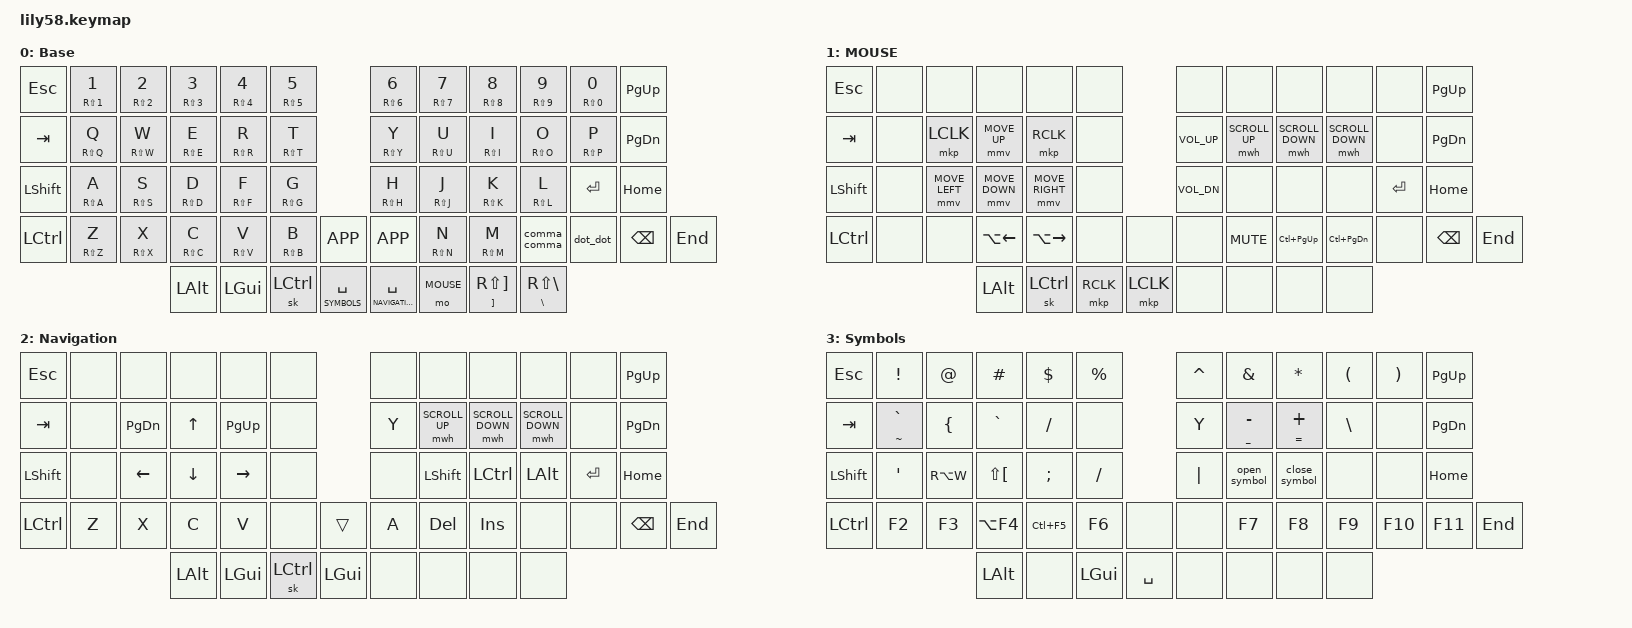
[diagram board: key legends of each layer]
/*
 * Copyright (c) 2020 The ZMK Contributors
 *
 * SPDX-License-Identifier: MIT
 */

#include <behaviors.dtsi>
#include <dt-bindings/zmk/keys.h>
#include <dt-bindings/zmk/bt.h>
#include <dt-bindings/zmk/ext_power.h>
#include <dt-bindings/zmk/mouse.h>

#define BASE 0
#define MOUSE 1
#define NAVIGATION 2
#define SYMBOLS 3

&mmv {
	time-to-max-speed-ms = <300>;
};

&mwh {
	acceleration-exponent=<1>;
};

&mt {
	tapping-term-ms = <300>;
	flavor = "tap-preferred";
};

/ {

behaviors {

   open_symbol: td_open {
     compatible = "zmk,behavior-tap-dance";
     label = "TD_OPEN";
     #binding-cells = <0>;
     tapping-term-ms = <200>;
     bindings = <&kp RS(RIGHT_BRACKET)>, <&kp RS(NUMBER_9)>, <&kp RIGHT_BRACKET>;
   };

   close_symbol: td_close {
     compatible = "zmk,behavior-tap-dance";
     label = "TD_CLOSE";
     #binding-cells = <0>;
     tapping-term-ms = <200>;
     bindings = <&kp RS(BACKSLASH)>, <&kp RS(NUMBER_0)>, <&kp BACKSLASH>;
   };

   dot_dot: dot_dot {
     compatible = "zmk,behavior-tap-dance";
     label = "DOT_DOT";
     #binding-cells = <0>;
     tapping-term-ms = <200>;
     bindings = <&kp PERIOD>, <&kp LS(SLASH)>,<&kp LT>;
  };

   comma_comma: comma_comma {
     compatible = "zmk,behavior-tap-dance";
     label = "COMMA_COMMA";
     #binding-cells = <0>;
     tapping-term-ms = <200>;
     bindings = <&kp COMMA>, <&kp SLASH>, <&kp GT>;
   };

 };

keymap {
   compatible = "zmk,keymap";
      default_layer {

	/* 			BASE
	  base layer contains autoshift on alpha and num chars	 
	
	 - use slash and backslass and pipe dedicated key
	 - as acute and tilda key
         - add grave and crase key
	 - add quote and double quote key
	 - add bluetooth layer
         - check https://github.com/toniz4/zmk-config/blob/1e70db9d25f6a92e3f32336912afa386ce148fe7/config/helper.h#L35
	 - check https://github.com/toniz4/zmk-config/blob/1e70db9d25f6a92e3f32336912afa386ce148fe7/config/totem.keymap#L16
		
	 ╭────────────────────────────────────────╮                              ╭─────────────────────────────────────────────╮
	 |  ESC  |  1  |  2  |  3   |  4   |  5   |          		         |  6   |  7    |  8    |  9   |   0   |  BSPC |
	 |  TAB  |  Q  |  W  |  E   |  R   |  T   |            		         |  Y   |  U    |  I    |  O   |   P   | ENTER |
	 |  CTRL |  A  |  S  |  D   |  F   |  G   ╰────────╮             ╭───────╯  H   |  J    |  K    |  L   |   Ç   |  CTRL |
	 | SHIFT |  Z  |  X  |  C   |  V   |  B   |  "+"   | 		 |  "-"  |  N   |  M    |  ,    |  .   |  /|\  | SHIFT |
	 ╰──────────────────╮  ALT  | GUI  |SKCTRL| SYMBOLS| 		 |SPACE  |MOUSE |  [{    |  ]}  ╭──────────────────────╯	
	 		    ╰──────────────────────────────╯		 ╰──────────────────────────────╯								
	 
	*/
	    label = "Base";
            bindings = <
		&kp ESC     &mt RS(N1) N1   &mt RS(N2) N2   &mt RS(N3) N3   &mt RS(N4) N4   &mt RS(N5) N5			           		   &mt RS(N6) N6      &mt RS(N7) N7   			    &mt RS(N8) N8   		  &mt RS(N9) N9   &mt RS(N0) N0     &kp PAGE_UP
		&kp TAB     &mt RS(Q) Q     &mt RS(W) W     &mt RS(E) E     &mt RS(R) R     &mt RS(T) T				           		   &mt RS(Y) Y        &mt RS(U) U     			    &mt RS(I) I     		  &mt RS(O) O     &mt RS(P) P       &kp PAGE_DOWN
		&kp LSHFT   &mt RS(A) A     &mt RS(S) S     &mt RS(D) D     &mt RS(F) F     &mt RS(G) G				           		   &mt RS(H) H        &mt RS(J) J     			    &mt RS(K) K     		  &mt RS(L) L     &kp RETURN        &kp HOME
		&kp LCTRL   &mt RS(Z) Z     &mt RS(X) X     &mt RS(C) C     &mt RS(V) V     &mt RS(B) B       &kp K_APP             &kp K_APP  		   &mt RS(N) N        &mt RS(M) M     			    &comma_comma    		  &dot_dot        &kp BSPC          &kp END
		                                            &kp LALT        &kp LGUI        &sk LEFT_CONTROL  &lt SYMBOLS SPACE     &lt NAVIGATION SPACE   &mo MOUSE     &mt RIGHT_BRACKET RS(RIGHT_BRACKET)   &mt BACKSLASH RS(BACKSLASH)
            >;
        };

        Mouse_layer {

	/*		MOUSE AND MEDIA CONTROL

	 ╭────────────────────────────────────────╮                              ╭─────────────────────────────────────────────╮
	 |  ESC  |     |     |      |      |      |          		         |      |       |       |      |       |  BSPC |
	 |  TAB  |     |LFTCL|  MUP | RGTCL|      |            		         |VOL-UP|       |       |      |       | ENTER |
	 |  CTRL |     |MLEFT|MDOWN |MRIGHT|      ╰────────╮             ╭───────╯VOL-DN|       |       |      |       |  CTRL |
	 | SHIFT |     |     |PAGEB | PAGEF|      |        | 		 |       |      |PAGE-UP|PAGE-DN|      |       | SHIFT |
	 ╰──────────────────╮  ALT  |STCTRL| RCLK |  LCLK  | 		 |       |      |       |       ╭──────────────────────╯	
	 		    ╰──────────────────────────────╯		 ╰──────────────────────────────╯								
	*/    

	    label = "MOUSE";
            bindings = <
		&kp ESC     &none   &none            &none            &none             &none                      	       &none	      &none		&none		   &none              &none        &kp PAGE_UP
		&kp TAB     &none   &mkp LCLK        &mmv MOVE_UP     &mkp RCLK         &none    			       &kp K_VOL_UP   &mwh SCROLL_UP	&mwh SCROLL_DOWN   &mwh SCROLL_DOWN   &none        &kp PAGE_DOWN
		&kp LSHFT   &none   &mmv MOVE_LEFT   &mmv MOVE_DOWN   &mmv MOVE_RIGHT   &none                       	       &kp K_VOL_DN   &none		&none		   &none	      &kp RETURN   &kp HOME
		&kp LCTRL   &none   &none            &kp LA(LEFT)     &kp LA(RIGHT)     &none	    &none    	       &none   &kp K_MUTE     &kp LC(PAGE_UP)   &kp LC(PAGE_DOWN)  &none	      &kp BSPC     &kp END
		                      		     &kp LALT	      &sk LEFT_CONTROL  &mkp RCLK   &mkp LCLK          &none   &none	      &none  		&none
            >;
        };

        Navigation_layer {

	/*		NAVIGATION LAYER

	 ╭────────────────────────────────────────╮                              ╭─────────────────────────────────────────────╮
	 |  ESC  |     |     |      |      |      |          		         |  Y   |       |       |      |       |  BSPC |
	 |  TAB  |     |PAGDN| UP   |PAGUP |      |            		         |VOL-UP|       |       |      |       | ENTER |
	 |  CTRL |     |LEFT |DOWN  |RIGHT |      ╰────────╮             ╭───────╯VOL-DN|       |       |      |       |       |
	 | SHIFT |  Z  |  X  |  C   | V    |      |        | 		 |       |      |PAGE-UP|PAGE-DN|  .   |       |       |
	 ╰──────────────────╮  ALT  | GUI  |SKCTRL| SYMBOLS| 		 | ENTER | RAISE| BSPC  | GUI   ╭──────────────────────╯	
	 		    ╰──────────────────────────────╯		 ╰──────────────────────────────╯		
	*/ 


            label = "Navigation";
            bindings = <
		&kp ESC     &none   &none 	    &none      &none  	     &none                   	       &none     &none            &none   	     &none   		&none        &kp PAGE_UP
		&kp TAB     &none   &kp PAGE_DOWN   &kp UP     &kp PAGE_UP   &none                             &kp Y     &mwh SCROLL_UP   &mwh SCROLL_DOWN   &mwh SCROLL_DOWN   &none        &kp PAGE_DOWN
		&kp LSHFT   &none   &kp LEFT 	    &kp DOWN   &kp RIGHT     &none                             &none     &kp LEFT_SHIFT   &kp LEFT_CONTROL   &kp LALT   	&kp RETURN   &kp HOME
		&kp LCTRL   &kp Z   &kp X 	    &kp C      &kp V 	     &none   &trans   	       &kp A   &kp DEL   &kp INSERT 	  &none              &none	 	&kp BSPC     &kp END
		                    &kp LALT        &kp LGUI   &sk LEFT_CONTROL      &kp LGUI          &none   &none     &none            &none
            >;
        };
    
 	Symbols {

	/*		Functions numbers and simbols

	 ╭────────────────────────────────────────╮                              ╭─────────────────────────────────────────────╮
	 |  ESC  |  !  |  @  |  #   |  %   |  %   |          		         |   ¨  |   &   |   *   |  (   |    )  |  BSPC |
	 |  TAB  |  '" |  \  |Blash |   │  |  .   |            		         |VOL-UP|       |       |      |       | ENTER |
	 |  CTRL |  ~  |  ?  |  ^   |  .   |  \   ╰────────╮             ╭───────╯VOL-DN|       |       |      |       | <def> |
	 | SHIFT |     |     |PAGEB | PAGEF|      |        | 		 |       |      |PAGE-UP|PAGE-DN|  .   |       | <def> |
	 ╰──────────────────╮  ALT  | GUI  | LOWER|  SPACE | 		 | ENTER | RAISE| BSPC  | GUI   ╭──────────────────────╯	
	 		    ╰──────────────────────────────╯		 ╰──────────────────────────────╯		
                	
*/ 


            label = "Symbols";
            bindings = <
		&kp ESC     &kp EXCLAMATION       &kp AT_SIGN 	   &kp HASH               &kp DOLLAR  	  &kp PERCENT                      	    &kp CARET   &kp AMPERSAND     &kp ASTERISK     &kp LEFT_PARENTHESIS   &kp RIGHT_PARENTHESIS   &kp PAGE_UP
		&kp TAB     &mt TILDE GRAV        &kp LEFT_BRACE   &kp GRAV               &kp SLASH       &none                                     &kp Y       &mt UNDER MINUS    &mt EQUAL PLUS   &kp BACKSLASH          &none                   &kp PAGE_DOWN
		&kp LSHFT   &kp SINGLE_QUOTE      &kp RA(W)        &kp LS(LEFT_BRACKET)   &kp SEMICOLON   &kp SLASH                                 &kp PIPE    &open_symbol      &close_symbol    &none                 &none                   &kp HOME   
		&kp LCTRL   &kp F2                &kp F3           &kp LA(F4)             &kp LC(F5)      &kp F6      &none                 &none   &kp F7      &kp F8            &kp F9           &kp F10                &kp F11                 &kp END
		                         	                   &kp LALT               &none           &kp LGUI    &kp SPACE             &none   &none       &none             &none
            >;
        };
	};
};
